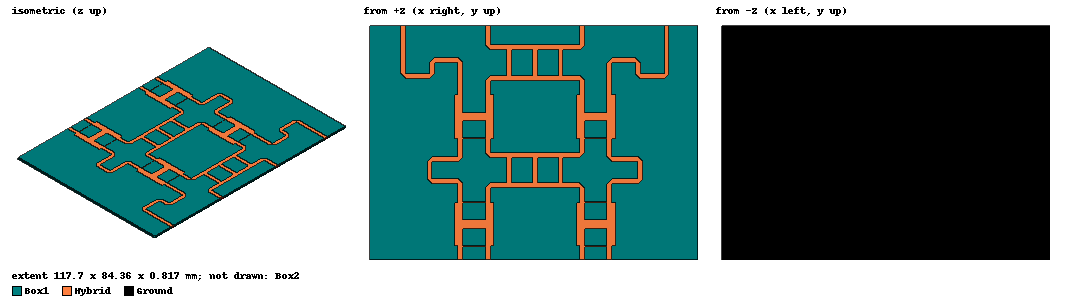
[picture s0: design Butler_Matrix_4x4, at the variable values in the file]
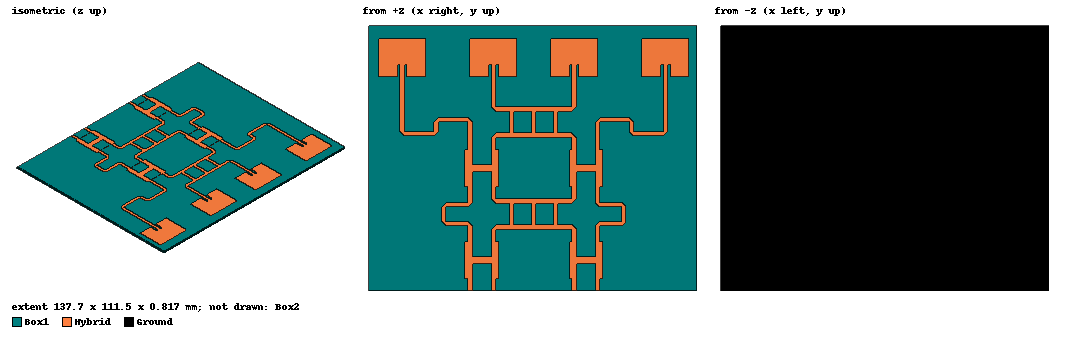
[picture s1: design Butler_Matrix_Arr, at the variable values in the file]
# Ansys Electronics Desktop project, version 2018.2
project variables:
  $W_50 = 2.21849mm
  $L_50 = 8.92656mm
  $W_120 = 0.30894mm
  $W_70 = 1.19566mm
  $L_120 = 9.52516mm
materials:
  copper: permeability=0.999991 conductivity=58000000
  FR4_epoxy: permittivity=4.4 dielectric_loss_tangent=0.02
  Rogers RO4003 (tm): permittivity=3.55 dielectric_loss_tangent=0.0027
  vacuum: permittivity=1

design Butler_Matrix_4x4 (HFSS, DrivenModal, model units mm)
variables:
  H = 0.8mm
  W_50 = 2.3mm
  Hybrid_L_35 = 7.82mm
  Hybrid_L_50 = 7.05mm
  Hybrid_L = 2*Hybrid_L_feed+Hybrid_W_120+2*Hybrid_L_35
  Hybrid_W = 25mm
  Hybrid_W_50 = 1.7645mm
  Hybrid_W_35 = 2.985mm
  Hybrid_L_feed = 5mm
  Cross_L_50 = 9.2mm
  Cross_W_50 = 1.76771mm
  Cross_L_feed = 6mm
  Cross_L = 2*Cross_L_feed+2*Cross_L_50+Cross_W_50
  Cross_W = 25mm
  Phase_c = 6.20642mm
  Phase_W = 40mm
  Phase_W_50 = 1.7645mm
  Phase_a = 1.5mm
  Phase_b = 9.3mm
  L_feed6 = L_feed5
  L_feed7 = L_feed5
  L_feed5 = 7.1mm
  L = 2*Hybrid_L+2*Cross_L_50+4*Cross_W_50+L_feed5
  L_feed8 = L_feed5
  W = Cross_L+6*Hybrid_W_50+2*Hybrid_L_50+2*Phase_b
  exten_b = 4mm
  exten_W_50 = 1.7645mm
  exten_a = 6.36771mm
  exten_c = 8.5mm
  exten_W = 30mm
  exten_L = 2*exten_a+2*exten_W_50+exten_c
  Phase_L = 2*Phase_a+2*Phase_W_50+Phase_c
  L_feed = 5mm
  exten_pad = 6mm
  Hybrid_W_120 = 0.2532mm
  Hyrid_L_feed = 5mm
  Hybrid_L_120 = 8.0138mm
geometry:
  Box1 [Rogers RO4003 (tm)] = box(corner=(-25mm, 0mm, 0mm), size=(W+42.292mm, L, H))
  Ground = object_from(Box1.face(-z))
  Port2 = rectangle(corner=(Hybrid_W/2+Hybrid_L_120/2, 0mm, H), z_size=-H, x_size=Hybrid_W_50)
  Port1 = rectangle(corner=(Hybrid_W/2-Hybrid_L_120/2, 0mm, H), z_size=-H, x_size=-Hybrid_W_50)
  Port3 = rectangle(corner=(Cross_L+Hybrid_W/2+Hybrid_L_120/2+Hybrid_W_50, 0mm, H), z_size=-H, x_size=Hybrid_W_50)
  Port4 = rectangle(corner=(Cross_L+Hybrid_W/2+1.5*Hybrid_L_120+2*Hybrid_W_50, 0mm, H), z_size=-H, x_size=Hybrid_W_50)
  Port5 = rectangle(corner=(Hybrid_W/2-Hybrid_L_120/2-2*exten_W_50-2*exten_c, L, H), z_size=-H, x_size=-Hybrid_W_50)
  Port6 = rectangle(corner=(Hybrid_W/2+Hybrid_L_120/2, L, H), z_size=-H, x_size=Cross_W_50)
  Port7 = rectangle(corner=(Cross_L+Hybrid_W/2+Hybrid_L_120/2+Hybrid_W_50, L, H), z_size=-H, x_size=Cross_W_50)
  Port8 = rectangle(corner=(Cross_L+Hybrid_W/2+1.5*Hybrid_L_120+4*Hybrid_W_50+2*exten_c, L, H), z_size=-H, x_size=Hybrid_W_50)
  Box2 [vacuum] = box(corner=(-35mm, -10mm, -10mm), size=(W+70mm-2*3.854mm, 20mm+L, 20mm))
  Bend_1 = polyline(z=H, xy: (Hybrid_W/2+Hybrid_L_120/2+Hybrid_W_50, Hybrid_L) (Hybrid_W/2+Hybrid_L_120/2+Hybrid_W_50, Hybrid_L+Cross_W_50) (Hybrid_W/2+Hybrid_L_120/2, Hybrid_L) (Hybrid_W/2+Hybrid_L_120/2+Hybrid_W_50, Hybrid_L), closed, covered)
  Bend_2 = polyline(z=H, xy: (Cross_L+Hybrid_W/2+Hybrid_L_120/2+Hybrid_W_50, Hybrid_L) (Cross_L+Hybrid_W/2+Hybrid_L_120/2+2*Hybrid_W_50, Hybrid_L) (Cross_L+Hybrid_W/2+Hybrid_L_120/2+Hybrid_W_50, Hybrid_L+Cross_W_50) (Cross_L+Hybrid_W/2+Hybrid_L_120/2+Hybrid_W_50, Hybrid_L), closed, covered)
  Bend_3 = polyline(z=H, xy: (Hybrid_W/2+Hybrid_L_120/2+Hybrid_W_50, Hybrid_L+Cross_W_50+Cross_L_50) (Hybrid_W/2+Hybrid_L_120/2+Hybrid_W_50, Hybrid_L+2*Cross_W_50+Cross_L_50) (Hybrid_W/2+Hybrid_L_120/2, Hybrid_L+2*Cross_W_50+Cross_L_50) (Hybrid_W/2+Hybrid_L_120/2+Hybrid_W_50, Hybrid_L+Cross_W_50+Cross_L_50), closed, covered)
  Bend_4 = polyline(z=H, xy: (Cross_L+Hybrid_W/2+Hybrid_L_120/2+Hybrid_W_50, Hybrid_L+Cross_L_50+Cross_W_50) (Cross_L+Hybrid_W/2+Hybrid_L_120/2+Hybrid_W_50, Hybrid_L+Cross_L_50+2*Cross_W_50) (Cross_L+Hybrid_W/2+Hybrid_L_120/2+2*Hybrid_W_50, Hybrid_L+Cross_L_50+2*Cross_W_50) (Cross_L+Hybrid_W/2+Hybrid_L_120/2+Hybrid_W_50, Hybrid_L+Cross_L_50+Cross_W_50), closed, covered)
  Bend_5 = polyline(z=H, xy: (Hybrid_W/2+Hybrid_L_120/2+Hybrid_W_50, Hybrid_L+2*Cross_W_50+Cross_L_50+Hybrid_L) (Hybrid_W/2+Hybrid_L_120/2+Hybrid_W_50, Hybrid_L+3*Cross_W_50+Cross_L_50+Hybrid_L) (Hybrid_W/2+Hybrid_L_120/2, Hybrid_L+2*Cross_W_50+Cross_L_50+Hybrid_L) (Hybrid_W/2+Hybrid_L_120/2+Hybrid_W_50, Hybrid_L+2*Cross_W_50+Cross_L_50+Hybrid_L), closed, covered)
  Bend_6 = polyline(z=H, xy: (Cross_L+Hybrid_W/2+Hybrid_L_120/2+Hybrid_W_50, 2*Hybrid_L+Cross_L_50+2*Cross_W_50) (Cross_L+Hybrid_W/2+Hybrid_L_120/2+Hybrid_W_50, 2*Hybrid_L+Cross_L_50+3*Cross_W_50) (Cross_L+Hybrid_W/2+Hybrid_L_120/2+2*Hybrid_W_50, 2*Hybrid_L+Cross_L_50+2*Cross_W_50) (Cross_L+Hybrid_W/2+Hybrid_L_120/2+Hybrid_W_50, 2*Hybrid_L+Cross_L_50+2*Cross_W_50), closed, covered)
  Phaser45_top = rectangle(corner=(Phase_W/2-Phase_W_50/2, 0mm, H), x_size=Phase_W_50, y_size=Phase_a)
  TL5 = rectangle(corner=(Phase_W/2-Phase_W_50/2, Phase_a+2*Phase_W_50+Phase_c, H), x_size=Phase_W_50, y_size=Phase_a)
  TL4 = rectangle(corner=(Phase_W/2-Phase_W_50/2-Phase_b, Phase_a+Phase_W_50+Phase_c, H), x_size=Phase_b, y_size=Phase_W_50)
  TL3 = rectangle(corner=(Phase_W/2-Phase_W_50/2-Phase_b, Phase_a+Phase_W_50, H), x_size=-Phase_W_50, y_size=Phase_c)
  TL2 = rectangle(corner=(Phase_W/2-Phase_W_50/2, Phase_a, H), x_size=-Phase_b, y_size=Phase_W_50)
  Bend10 = polyline(z=H, xy: (Phase_W/2-Phase_W_50/2, Phase_a+Phase_W_50+Phase_c) (Phase_W/2+Phase_W_50/2, Phase_a+2*Phase_W_50+Phase_c) (Phase_W/2-Phase_W_50/2, Phase_a+2*Phase_W_50+Phase_c) (Phase_W/2-Phase_W_50/2, Phase_a+Phase_W_50+Phase_c), closed, covered)
  Bend9 = polyline(z=H, xy: (Phase_W/2-1.5*Phase_W_50-Phase_b, Phase_a+Phase_W_50+Phase_c) (Phase_W/2-Phase_W_50/2-Phase_b, Phase_a+2*Phase_W_50+Phase_c) (Phase_W/2-Phase_W_50/2-Phase_b, Phase_a+Phase_W_50+Phase_c) (Phase_W/2-1.5*Phase_W_50-Phase_b, Phase_a+Phase_W_50+Phase_c), closed, covered)
  Bend8 = polyline(z=H, xy: (Phase_W/2-Phase_W_50/2-Phase_b, Phase_a) (Phase_W/2-1.5*Phase_W_50-Phase_b, Phase_a+Phase_W_50) (Phase_W/2-Phase_W_50/2-Phase_b, Phase_a+Phase_W_50) (Phase_W/2-Phase_W_50/2-Phase_b, Phase_a), closed, covered)
  Bend7 = polyline(z=H, xy: (Phase_W/2+Phase_W_50/2, Phase_a) (Phase_W/2-Phase_W_50/2, Phase_a+Phase_W_50) (Phase_W/2-Phase_W_50/2, Phase_a) (Phase_W/2+Phase_W_50/2, Phase_a), closed, covered)
  Phaser45_top.unite(TL5, TL4, TL3, TL2, Bend10, Bend9, Bend8, Bend7)
  Phaser45_top.move(-Phase_W/2+Phase_W_50/2+Hybrid_W/2-Hybrid_L_120/2-Hybrid_W_50, Hybrid_L, 0mm)
  Phaser45_down = Phaser45_top.duplicate_mirror(point=(Hybrid_W/2+Hybrid_L_120/2+Hybrid_W_50+Cross_L/2, Hybrid_L+Cross_W_50+Cross_L_50/2, 0mm), normal=(1mm, 0mm, 0mm))
  Feed_6 = rectangle(corner=(Hybrid_W/2+Hybrid_L_120/2+Hybrid_W_50, Hybrid_L+4*Cross_W_50+2*Cross_L_50+Hybrid_L, H), x_size=-Cross_W_50, y_size=L_feed6)
  Feed_7 = rectangle(corner=(Cross_L+Hybrid_W/2+Hybrid_L_120/2+Hybrid_W_50, 2*Hybrid_L+2*Cross_L_50+4*Cross_W_50, H), x_size=Cross_W_50, y_size=L_feed7)
  Feed_5 = rectangle(corner=(Hybrid_W/2-Hybrid_L_120/2-2*exten_W_50-2*exten_c, Hybrid_L+4*Cross_W_50+2*Cross_L_50+Hybrid_L, H), x_size=-Hybrid_W_50, y_size=L_feed5)
  Feed_8 = rectangle(corner=(Cross_L+Hybrid_W/2+1.5*Hybrid_L_120+2*Hybrid_W_50+2*exten_c+2*exten_W_50, 2*Hybrid_L+2*Cross_L_50+4*Cross_W_50, H), x_size=Hybrid_W_50, y_size=L_feed8)
  Bend_7 = polyline(z=H, xy: (Hybrid_W/2+Hybrid_L_120/2+Hybrid_W_50, Hybrid_L+3*Cross_W_50+2*Cross_L_50+Hybrid_L) (Hybrid_W/2+Hybrid_L_120/2+Hybrid_W_50, Hybrid_L+4*Cross_W_50+2*Cross_L_50+Hybrid_L) (Hybrid_W/2+Hybrid_L_120/2, Hybrid_L+4*Cross_W_50+2*Cross_L_50+Hybrid_L) (Hybrid_W/2+Hybrid_L_120/2+Hybrid_W_50, Hybrid_L+3*Cross_W_50+2*Cross_L_50+Hybrid_L), closed, covered)
  Bend_8 = polyline(z=H, xy: (Cross_L+Hybrid_W/2+Hybrid_L_120/2+Hybrid_W_50, 2*Hybrid_L+2*Cross_L_50+3*Cross_W_50) (Cross_L+Hybrid_W/2+Hybrid_L_120/2+Hybrid_W_50, 2*Hybrid_L+2*Cross_L_50+4*Cross_W_50) (Cross_L+Hybrid_W/2+Hybrid_L_120/2+2*Hybrid_W_50, 2*Hybrid_L+2*Cross_L_50+4*Cross_W_50) (Cross_L+Hybrid_W/2+Hybrid_L_120/2+Hybrid_W_50, 2*Hybrid_L+2*Cross_L_50+3*Cross_W_50), closed, covered)
  Crossover1 = rectangle(corner=(Cross_W/2-Cross_L_50/2, 0mm, H), x_size=-Cross_W_50, y_size=Cross_L_feed+Cross_W_50/2)
  feed6 = rectangle(corner=(Cross_W/2-Cross_L_50/2, Cross_L, H), x_size=-Cross_W_50, y_size=-Cross_L_feed-Cross_W_50/2)
  feed7 = rectangle(corner=(Cross_W/2+Cross_L_50/2, Cross_L, H), x_size=Cross_W_50, y_size=-Cross_L_feed-Cross_W_50/2)
  feed5 = rectangle(corner=(Cross_W/2+Cross_L_50/2, 0mm, H), x_size=Cross_W_50, y_size=Cross_L_feed+Cross_W_50/2)
  parallel1 = rectangle(corner=(Cross_W/2-Cross_L_50/2, Cross_L_feed, H), x_size=Cross_L_50, y_size=Cross_W_50)
  parallel2 = rectangle(corner=(Cross_W/2-Cross_L_50/2, Cross_L_feed+Cross_L_50, H), x_size=Cross_L_50, y_size=Cross_W_50)
  parallel3 = rectangle(corner=(Cross_W/2-Cross_L_50/2, Cross_L_feed+2*Cross_L_50, H), x_size=Cross_L_50, y_size=Cross_W_50)
  series1_1 = rectangle(corner=(Cross_W/2-Cross_L_50/2, Cross_L_feed+Cross_W_50/2, H), x_size=-Cross_W_50, y_size=Cross_L_50)
  series1_2 = rectangle(corner=(Cross_W/2+Cross_L_50/2, Cross_L_feed+Cross_W_50/2, H), x_size=Cross_W_50, y_size=Cross_L_50)
  series2_1 = rectangle(corner=(Cross_W/2-Cross_L_50/2, Cross_L_feed+Cross_W_50/2+Cross_L_50, H), x_size=-Cross_W_50, y_size=Cross_L_50)
  series2_2 = rectangle(corner=(Cross_W/2+Cross_L_50/2, Cross_L_feed+Cross_W_50/2+Cross_L_50, H), x_size=Cross_W_50, y_size=Cross_L_50)
  Crossover1.unite(feed6, feed7, feed5, parallel1, parallel2, parallel3, series1_1, series1_2, series2_1, series2_2)
  coordinate_system RelativeCS1 = origin=(Cross_W/2+Cross_L_50/2+Cross_W_50, 0mm, 0.8mm) x=(1mm, 0mm, 0mm) y=(0mm, 1mm, 0mm)
  Crossover1.rotate(axis=Z, angle=-90deg) in RelativeCS1
  Crossover1.move(Hybrid_W/2+Hybrid_L_120/2+Hybrid_W_50-Cross_W/2-Cross_L_50/2-Cross_W_50, Hybrid_L, 0mm) in RelativeCS1
  Crossover2 = Crossover1.duplicate_along_line(step=(0mm, Cross_L_50+2*Cross_W_50+Hybrid_L, 0mm), total=2) in RelativeCS1
  Top = rectangle(corner=(exten_W-exten_W_50-exten_pad, 0mm, H), x_size=exten_W_50, y_size=exten_a)
  TL6 = rectangle(corner=(exten_W-2*exten_W_50-exten_pad-2*exten_c, exten_a, H), x_size=-exten_W_50, y_size=exten_a)
  TL9 = rectangle(corner=(exten_W-2*exten_W_50-exten_pad-2*exten_c, exten_a-exten_b, H), x_size=-exten_W_50, y_size=exten_b)
  TL10 = rectangle(corner=(exten_W-2*exten_W_50-exten_pad-exten_c, exten_a-exten_b, H), x_size=-exten_c, y_size=-exten_W_50)
  TL8 = rectangle(corner=(exten_W-exten_W_50-exten_pad-exten_c, exten_a, H), x_size=-exten_W_50, y_size=-exten_b)
  TL7 = rectangle(corner=(exten_W-exten_W_50-exten_pad, exten_a, H), x_size=-exten_c, y_size=exten_W_50)
  Bend4 = polyline(z=H, xy: (exten_W-2*exten_W_50-exten_pad-2*exten_c, exten_a-exten_b-exten_W_50) (exten_W-2*exten_W_50-exten_pad-2*exten_c, exten_a-exten_b) (exten_W-3*exten_W_50-exten_pad-2*exten_c, exten_a-exten_b) (exten_W-2*exten_W_50-exten_pad-2*exten_c, exten_a-exten_b-exten_W_50), closed, covered)
  Bend3 = polyline(z=H, xy: (exten_W-2*exten_W_50-exten_pad-exten_c, exten_a-exten_b) (exten_W-2*exten_W_50-exten_pad-exten_c, exten_a-exten_b-exten_W_50) (exten_W-exten_W_50-exten_pad-exten_c, exten_a-exten_b) (exten_W-2*exten_W_50-exten_pad-exten_c, exten_a-exten_b), closed, covered)
  Bend2 = polyline(z=H, xy: (exten_W-exten_W_50-exten_pad-exten_c, exten_a) (exten_W-2*exten_W_50-exten_pad-exten_c, exten_a) (exten_W-exten_W_50-exten_pad-exten_c, exten_a+exten_W_50) (exten_W-exten_W_50-exten_pad-exten_c, exten_a), closed, covered)
  Bend1 = polyline(z=H, xy: (exten_W-exten_pad, exten_a) (exten_W-exten_W_50-exten_pad, exten_a+exten_W_50) (exten_W-exten_W_50-exten_pad, exten_a) (exten_W-exten_pad, exten_a), closed, covered)
  Top.unite(TL6, TL9, TL10, TL8, TL7, Bend4, Bend3, Bend2, Bend1)
  Top.move(-exten_W+exten_pad+Hybrid_W/2-Hybrid_L_120/2, 2*Hybrid_L+Phase_L, 0mm)
  Top_1 = Top.duplicate_mirror(point=(Hybrid_W/2+Hybrid_L_120/2+Hybrid_W_50+Cross_L/2, 2*Hybrid_L+2*Cross_W_50+Cross_L_50, 0mm), normal=(1, 0, 0))
  Hybrid [copper] = rectangle(corner=(Hybrid_W/2-Hybrid_L_120/2, 0mm, H), x_size=-Hybrid_W_50, y_size=Hybrid_L_feed+Hybrid_W_120/2)
  feed2 = rectangle(corner=(Hybrid_W/2-Hybrid_L_120/2, Hybrid_L, H), x_size=-Hybrid_W_50, y_size=-Hybrid_L_feed-Hybrid_W_120/2)
  feed3 = rectangle(corner=(Hybrid_W/2+Hybrid_L_120/2, Hybrid_L, H), x_size=Hybrid_W_50, y_size=-Hybrid_L_feed-Hybrid_W_120/2)
  feed4 = rectangle(corner=(Hybrid_W/2+Hybrid_L_120/2, 0mm, H), x_size=Hybrid_W_50, y_size=Hybrid_L_feed+Hybrid_W_120/2)
  parallel4 = rectangle(corner=(Hybrid_W/2-Hybrid_L_120/2, Hybrid_L_feed, H), x_size=Hybrid_L_120, y_size=Hybrid_W_120)
  parallel5 = rectangle(corner=(Hybrid_W/2-Hybrid_L_120/2, Hybrid_L_feed+Hybrid_L_35+Hybrid_W_120/2-Hybrid_W_35/2, H), x_size=Hybrid_L_120, y_size=Hybrid_W_35)
  parallel6 = rectangle(corner=(Hybrid_W/2-Hybrid_L_120/2, Hybrid_L_feed+2*Hybrid_L_35, H), x_size=Hybrid_L_120, y_size=Hybrid_W_120)
  series1_3 = rectangle(corner=(Hybrid_W/2-Hybrid_L_120/2, Hybrid_L_feed+Hybrid_W_120/2, H), x_size=-Hybrid_W_35, y_size=Hybrid_L_35)
  series1_4 = rectangle(corner=(Hybrid_W/2+Hybrid_L_120/2, Hybrid_L_feed+Hybrid_W_120/2, H), x_size=Hybrid_W_35, y_size=Hybrid_L_35)
  series2_3 = rectangle(corner=(Hybrid_W/2-Hybrid_L_120/2, Hybrid_L_feed+Hybrid_W_120/2+Hybrid_L_35, H), x_size=-Hybrid_W_35, y_size=Hybrid_L_35)
  series2_4 = rectangle(corner=(Hybrid_W/2+Hybrid_L_120/2, Hybrid_L_feed+Hybrid_W_120/2+Hybrid_L_35, H), x_size=Hybrid_W_35, y_size=Hybrid_L_35)
  Hybrid.unite(feed2, feed3, feed4, parallel4, parallel5, parallel6, series1_3, series1_4, series2_3, series2_4)
  Hybrid_1 = Hybrid.duplicate_along_line(step=(Cross_L+Hybrid_L_120+2*Hybrid_W_50, 0mm, 0mm), total=2)
  Hybrid_2 = Hybrid.duplicate_along_line(step=(0mm, Hybrid_L+Cross_L_50+2*Cross_W_50, 0mm), total=2)
  Hybrid3 = Hybrid_2.duplicate_along_line(step=(Cross_L+Hybrid_L_120+2*Hybrid_W_50, 0mm, 0mm), total=2)
  Hybrid.unite(Hybrid_1, Hybrid_2, Hybrid3, Phaser45_down, Phaser45_top, Top, Top_1, Feed_8, Feed_7, Feed_6, Feed_5, Crossover2, Crossover1, Bend_8, Bend_7, Bend_6, Bend_5, Bend_4, Bend_3, Bend_2, Bend_1)
  Hybrid.thicken(0.017mm)
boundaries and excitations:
  PerfE1: Perfect E Objects=Ground
  Rad1: Radiation Objects=Box2
  1: Lumped Port Faces=Port1.face Modes{Mode1{IntLine{middle of Port1.edge(z opposite corner) -> middle of Port1.edge(z at corner)} CharImp=Zpi RenormImp=50ohm}} Impedance=50ohm
  2: Lumped Port Objects=Port2 Modes{Mode1{IntLine{middle of Port2.edge(z opposite corner) -> middle of Port2.edge(z at corner)} CharImp=Zpi RenormImp=50ohm}} Impedance=50ohm
  3: Lumped Port Objects=Port3 Modes{Mode1{IntLine{middle of Port3.edge(z opposite corner) -> middle of Port3.edge(z at corner)} CharImp=Zpi RenormImp=50ohm}} Impedance=50ohm
  4: Lumped Port Objects=Port4 Modes{Mode1{IntLine{middle of Port4.edge(z opposite corner) -> middle of Port4.edge(z at corner)} CharImp=Zpi RenormImp=50ohm}} Impedance=50ohm
  5: Lumped Port Objects=Port5 Modes{Mode1{IntLine{middle of Port5.edge(z opposite corner) -> middle of Port5.edge(z at corner)} CharImp=Zpi RenormImp=50ohm}} Impedance=50ohm
  6: Lumped Port Objects=Port6 Modes{Mode1{IntLine{middle of Port6.edge(z opposite corner) -> middle of Port6.edge(z at corner)} CharImp=Zpi RenormImp=50ohm}} Impedance=50ohm
  7: Lumped Port Objects=Port7 Modes{Mode1{IntLine{middle of Port7.edge(z opposite corner) -> middle of Port7.edge(z at corner)} CharImp=Zpi RenormImp=50ohm}} Impedance=50ohm
  8: Lumped Port Objects=Port8 Modes{Mode1{IntLine{middle of Port8.edge(z opposite corner) -> middle of Port8.edge(z at corner)} CharImp=Zpi RenormImp=50ohm}} Impedance=50ohm
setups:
  Setup1: HfssDriven Frequency=5GHz MaxDeltaS=0.02 MaximumPasses=20 MinimumPasses=1 MinimumConvergedPasses=1 PercentRefinement=30 BasisOrder=1 PortAccuracy=2
    sweep Sweep: 4GHz to 6GHz step 0.01GHz; Type=Fast SaveFields
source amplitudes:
  1:1: 1W 0deg
  2:1, 3:1, 4:1, 5:1, 6:1, 7:1, 8:1: 0W 0deg
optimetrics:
  ParametricSetup1: Parametric disabled Sim._Setups=[Setup1]
    sweep L_feed5: LIN 2mm 8mm 0.25mm
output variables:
  phase_diff_5_6 = ang_deg(S(5,1))-ang_deg(S(6,1))
  phase_diff_6_7 = ang_deg(S(6,1))-ang_deg(S(7,1))
  phase_diff_7_8 = ang_deg(S(7,1))-ang_deg(S(8,1))
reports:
  S-Parameters: dB(S(1,1)), dB(S(2,1)), dB(S(3,1)), dB(S(4,1)) vs Freq on Setup1 : Sweep; markers MX1 at x=5.0029718e+09, MY1 at y=-14.975
  Insertion Loss: dB(S(5,1)), dB(S(6,1)), dB(S(7,1)), dB(S(8,1)) vs Freq on Setup1 : Sweep; markers MX1 at x=5.0029718e+09
  S Parameter Plot 3: ang_deg(S(5,1)), ang_deg(S(6,1)), ang_deg(S(7,1)), ang_deg(S(8,1)) vs Freq on Setup1 : Sweep; markers MX1 at x=5e+09
  Output Variables Plot 1: phase_diff_5_6, phase_diff_6_7, phase_diff_7_8 vs Freq on Setup1 : Sweep; markers MX1 at x=5e+09
  S Parameter Plot 4: ang_deg(S(2,1)) vs Freq on Setup1 : Sweep [L_feed5=all]; markers MX1 at x=4.9999383e+09

design Butler_Matrix_Arr (HFSS, DrivenModal, model units mm)
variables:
  H = 0.8mm
  W_50 = 1.7645mm
  Hybrid_L_35 = 7.82mm
  Hybrid_L_50 = 7.05mm
  Hybrid_L = 2*Hybrid_L_feed+Hybrid_W_120+2*Hybrid_L_35
  Hybrid_W = 25mm
  Hybrid_W_50 = 1.7645mm
  Hybrid_W_35 = 2.985mm
  Hybrid_L_feed = 5mm
  Cross_L_50 = 9.2mm
  Cross_W_50 = 1.76771mm
  Cross_L_feed = 6mm
  Cross_L = 2*Cross_L_feed+2*Cross_L_50+Cross_W_50
  Cross_W = 25mm
  Phase_c = 6.20642mm
  Phase_W = 40mm
  Phase_W_50 = 1.7645mm
  Phase_a = 1.5mm
  Phase_b = 9.3mm
  L_feed6 = L_feed5
  L_feed7 = L_feed5
  L_feed5 = 7.1mm
  L = 2*Hybrid_L+2*Cross_L_50+4*Cross_W_50+L_feed5+La
  L_feed8 = L_feed5
  W = Cross_L+6*Hybrid_W_50+2*Hybrid_L_50+2*Phase_b
  exten_b = 4mm
  exten_W_50 = 1.7645mm
  exten_a = 6.36771mm
  exten_c = 12.5mm
  exten_W = 30mm
  exten_L = 2*exten_a+2*exten_W_50+exten_c
  Phase_L = 2*Phase_a+2*Phase_W_50+Phase_c
  L_feed = 5mm
  exten_pad = 6mm
  Hybrid_W_120 = 0.2532mm
  Hyrid_L_feed = 5mm
  Hybrid_L_120 = 8.0138mm
  Cross_W_40 = 2.3329mm
  Cross_L_64 = 9.348402mm
  Lp = 15.6mm
  hg = 1.9298mm
  La = Lp+6*hg
  depth = 4.842mm
  S = 4.005mm
  Wa = Wp+6*hg
  Wp = 19.9mm
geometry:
  Box1 [Rogers RO4003 (tm)] = box(corner=(-35mm, 0mm, 0mm), size=(W+62.292mm, L, H))
  Ground = object_from(Box1.face(-z))
  Port2 = rectangle(corner=(Hybrid_W/2+Hybrid_L_120/2, 0mm, H), z_size=-H, x_size=Hybrid_W_50)
  Port1 = rectangle(corner=(Hybrid_W/2-Hybrid_L_120/2, 0mm, H), z_size=-H, x_size=-Hybrid_W_50)
  Port3 = rectangle(corner=(Cross_L+Hybrid_W/2+Hybrid_L_120/2+Hybrid_W_50, 0mm, H), z_size=-H, x_size=Hybrid_W_50)
  Port4 = rectangle(corner=(Cross_L+Hybrid_W/2+1.5*Hybrid_L_120+2*Hybrid_W_50, 0mm, H), z_size=-H, x_size=Hybrid_W_50)
  Box2 [vacuum] = box(corner=(-45mm, -10mm, -10mm), size=(W+90mm-2*3.854mm, 20mm+L, 20mm))
  Bend_1 = polyline(z=H, xy: (Hybrid_W/2+Hybrid_L_120/2+Hybrid_W_50, Hybrid_L) (Hybrid_W/2+Hybrid_L_120/2+Hybrid_W_50, Hybrid_L+Cross_W_50) (Hybrid_W/2+Hybrid_L_120/2, Hybrid_L) (Hybrid_W/2+Hybrid_L_120/2+Hybrid_W_50, Hybrid_L), closed, covered)
  Bend_2 = polyline(z=H, xy: (Cross_L+Hybrid_W/2+Hybrid_L_120/2+Hybrid_W_50, Hybrid_L) (Cross_L+Hybrid_W/2+Hybrid_L_120/2+2*Hybrid_W_50, Hybrid_L) (Cross_L+Hybrid_W/2+Hybrid_L_120/2+Hybrid_W_50, Hybrid_L+Cross_W_50) (Cross_L+Hybrid_W/2+Hybrid_L_120/2+Hybrid_W_50, Hybrid_L), closed, covered)
  Bend_3 = polyline(z=H, xy: (Hybrid_W/2+Hybrid_L_120/2+Hybrid_W_50, Hybrid_L+Cross_W_50+Cross_L_50) (Hybrid_W/2+Hybrid_L_120/2+Hybrid_W_50, Hybrid_L+2*Cross_W_50+Cross_L_50) (Hybrid_W/2+Hybrid_L_120/2, Hybrid_L+2*Cross_W_50+Cross_L_50) (Hybrid_W/2+Hybrid_L_120/2+Hybrid_W_50, Hybrid_L+Cross_W_50+Cross_L_50), closed, covered)
  Bend_4 = polyline(z=H, xy: (Cross_L+Hybrid_W/2+Hybrid_L_120/2+Hybrid_W_50, Hybrid_L+Cross_L_50+Cross_W_50) (Cross_L+Hybrid_W/2+Hybrid_L_120/2+Hybrid_W_50, Hybrid_L+Cross_L_50+2*Cross_W_50) (Cross_L+Hybrid_W/2+Hybrid_L_120/2+2*Hybrid_W_50, Hybrid_L+Cross_L_50+2*Cross_W_50) (Cross_L+Hybrid_W/2+Hybrid_L_120/2+Hybrid_W_50, Hybrid_L+Cross_L_50+Cross_W_50), closed, covered)
  Bend_5 = polyline(z=H, xy: (Hybrid_W/2+Hybrid_L_120/2+Hybrid_W_50, Hybrid_L+2*Cross_W_50+Cross_L_50+Hybrid_L) (Hybrid_W/2+Hybrid_L_120/2+Hybrid_W_50, Hybrid_L+3*Cross_W_50+Cross_L_50+Hybrid_L) (Hybrid_W/2+Hybrid_L_120/2, Hybrid_L+2*Cross_W_50+Cross_L_50+Hybrid_L) (Hybrid_W/2+Hybrid_L_120/2+Hybrid_W_50, Hybrid_L+2*Cross_W_50+Cross_L_50+Hybrid_L), closed, covered)
  Bend_6 = polyline(z=H, xy: (Cross_L+Hybrid_W/2+Hybrid_L_120/2+Hybrid_W_50, 2*Hybrid_L+Cross_L_50+2*Cross_W_50) (Cross_L+Hybrid_W/2+Hybrid_L_120/2+Hybrid_W_50, 2*Hybrid_L+Cross_L_50+3*Cross_W_50) (Cross_L+Hybrid_W/2+Hybrid_L_120/2+2*Hybrid_W_50, 2*Hybrid_L+Cross_L_50+2*Cross_W_50) (Cross_L+Hybrid_W/2+Hybrid_L_120/2+Hybrid_W_50, 2*Hybrid_L+Cross_L_50+2*Cross_W_50), closed, covered)
  Phaser45_top = rectangle(corner=(Phase_W/2-Phase_W_50/2, 0mm, H), x_size=Phase_W_50, y_size=Phase_a)
  TL5 = rectangle(corner=(Phase_W/2-Phase_W_50/2, Phase_a+2*Phase_W_50+Phase_c, H), x_size=Phase_W_50, y_size=Phase_a)
  TL4 = rectangle(corner=(Phase_W/2-Phase_W_50/2-Phase_b, Phase_a+Phase_W_50+Phase_c, H), x_size=Phase_b, y_size=Phase_W_50)
  TL3 = rectangle(corner=(Phase_W/2-Phase_W_50/2-Phase_b, Phase_a+Phase_W_50, H), x_size=-Phase_W_50, y_size=Phase_c)
  TL2 = rectangle(corner=(Phase_W/2-Phase_W_50/2, Phase_a, H), x_size=-Phase_b, y_size=Phase_W_50)
  Bend10 = polyline(z=H, xy: (Phase_W/2-Phase_W_50/2, Phase_a+Phase_W_50+Phase_c) (Phase_W/2+Phase_W_50/2, Phase_a+2*Phase_W_50+Phase_c) (Phase_W/2-Phase_W_50/2, Phase_a+2*Phase_W_50+Phase_c) (Phase_W/2-Phase_W_50/2, Phase_a+Phase_W_50+Phase_c), closed, covered)
  Bend9 = polyline(z=H, xy: (Phase_W/2-1.5*Phase_W_50-Phase_b, Phase_a+Phase_W_50+Phase_c) (Phase_W/2-Phase_W_50/2-Phase_b, Phase_a+2*Phase_W_50+Phase_c) (Phase_W/2-Phase_W_50/2-Phase_b, Phase_a+Phase_W_50+Phase_c) (Phase_W/2-1.5*Phase_W_50-Phase_b, Phase_a+Phase_W_50+Phase_c), closed, covered)
  Bend8 = polyline(z=H, xy: (Phase_W/2-Phase_W_50/2-Phase_b, Phase_a) (Phase_W/2-1.5*Phase_W_50-Phase_b, Phase_a+Phase_W_50) (Phase_W/2-Phase_W_50/2-Phase_b, Phase_a+Phase_W_50) (Phase_W/2-Phase_W_50/2-Phase_b, Phase_a), closed, covered)
  Bend7 = polyline(z=H, xy: (Phase_W/2+Phase_W_50/2, Phase_a) (Phase_W/2-Phase_W_50/2, Phase_a+Phase_W_50) (Phase_W/2-Phase_W_50/2, Phase_a) (Phase_W/2+Phase_W_50/2, Phase_a), closed, covered)
  Phaser45_top.unite(TL5, TL4, TL3, TL2, Bend10, Bend9, Bend8, Bend7)
  Phaser45_top.move(-Phase_W/2+Phase_W_50/2+Hybrid_W/2-Hybrid_L_120/2-Hybrid_W_50, Hybrid_L, 0mm)
  Phaser45_down = Phaser45_top.duplicate_mirror(point=(Hybrid_W/2+Hybrid_L_120/2+Hybrid_W_50+Cross_L/2, Hybrid_L+Cross_W_50+Cross_L_50/2, 0mm), normal=(1mm, 0mm, 0mm))
  Feed_6 = rectangle(corner=(Hybrid_W/2+Hybrid_L_120/2+Hybrid_W_50, Hybrid_L+4*Cross_W_50+2*Cross_L_50+Hybrid_L, H), x_size=-Cross_W_50, y_size=L_feed6)
  Feed_7 = rectangle(corner=(Cross_L+Hybrid_W/2+Hybrid_L_120/2+Hybrid_W_50, 2*Hybrid_L+2*Cross_L_50+4*Cross_W_50, H), x_size=Cross_W_50, y_size=L_feed7)
  Feed_5 = rectangle(corner=(Hybrid_W/2-Hybrid_L_120/2-2*exten_W_50-2*exten_c, Hybrid_L+4*Cross_W_50+2*Cross_L_50+Hybrid_L, H), x_size=-Hybrid_W_50, y_size=L_feed5)
  Feed_8 = rectangle(corner=(Cross_L+Hybrid_W/2+1.5*Hybrid_L_120+2*Hybrid_W_50+2*exten_c+2*exten_W_50, 2*Hybrid_L+2*Cross_L_50+4*Cross_W_50, H), x_size=Hybrid_W_50, y_size=L_feed8)
  Bend_7 = polyline(z=H, xy: (Hybrid_W/2+Hybrid_L_120/2+Hybrid_W_50, Hybrid_L+3*Cross_W_50+2*Cross_L_50+Hybrid_L) (Hybrid_W/2+Hybrid_L_120/2+Hybrid_W_50, Hybrid_L+4*Cross_W_50+2*Cross_L_50+Hybrid_L) (Hybrid_W/2+Hybrid_L_120/2, Hybrid_L+4*Cross_W_50+2*Cross_L_50+Hybrid_L) (Hybrid_W/2+Hybrid_L_120/2+Hybrid_W_50, Hybrid_L+3*Cross_W_50+2*Cross_L_50+Hybrid_L), closed, covered)
  Bend_8 = polyline(z=H, xy: (Cross_L+Hybrid_W/2+Hybrid_L_120/2+Hybrid_W_50, 2*Hybrid_L+2*Cross_L_50+3*Cross_W_50) (Cross_L+Hybrid_W/2+Hybrid_L_120/2+Hybrid_W_50, 2*Hybrid_L+2*Cross_L_50+4*Cross_W_50) (Cross_L+Hybrid_W/2+Hybrid_L_120/2+2*Hybrid_W_50, 2*Hybrid_L+2*Cross_L_50+4*Cross_W_50) (Cross_L+Hybrid_W/2+Hybrid_L_120/2+Hybrid_W_50, 2*Hybrid_L+2*Cross_L_50+3*Cross_W_50), closed, covered)
  Crossover1 = rectangle(corner=(Cross_W/2-Cross_L_50/2, 0mm, H), x_size=-Cross_W_50, y_size=Cross_L_feed+Cross_W_50/2)
  feed6 = rectangle(corner=(Cross_W/2-Cross_L_50/2, Cross_L, H), x_size=-Cross_W_50, y_size=-Cross_L_feed-Cross_W_50/2)
  feed7 = rectangle(corner=(Cross_W/2+Cross_L_50/2, Cross_L, H), x_size=Cross_W_50, y_size=-Cross_L_feed-Cross_W_50/2)
  feed5 = rectangle(corner=(Cross_W/2+Cross_L_50/2, 0mm, H), x_size=Cross_W_50, y_size=Cross_L_feed+Cross_W_50/2)
  parallel1 = rectangle(corner=(Cross_W/2-Cross_L_50/2, Cross_L_feed, H), x_size=Cross_L_50, y_size=Cross_W_50)
  parallel2 = rectangle(corner=(Cross_W/2-Cross_L_50/2, Cross_L_feed+Cross_L_50, H), x_size=Cross_L_50, y_size=Cross_W_50)
  parallel3 = rectangle(corner=(Cross_W/2-Cross_L_50/2, Cross_L_feed+2*Cross_L_50, H), x_size=Cross_L_50, y_size=Cross_W_50)
  series1_1 = rectangle(corner=(Cross_W/2-Cross_L_50/2, Cross_L_feed+Cross_W_50/2, H), x_size=-Cross_W_50, y_size=Cross_L_50)
  series1_2 = rectangle(corner=(Cross_W/2+Cross_L_50/2, Cross_L_feed+Cross_W_50/2, H), x_size=Cross_W_50, y_size=Cross_L_50)
  series2_1 = rectangle(corner=(Cross_W/2-Cross_L_50/2, Cross_L_feed+Cross_W_50/2+Cross_L_50, H), x_size=-Cross_W_50, y_size=Cross_L_50)
  series2_2 = rectangle(corner=(Cross_W/2+Cross_L_50/2, Cross_L_feed+Cross_W_50/2+Cross_L_50, H), x_size=Cross_W_50, y_size=Cross_L_50)
  Crossover1.unite(feed6, feed7, feed5, parallel1, parallel2, parallel3, series1_1, series1_2, series2_1, series2_2)
  coordinate_system RelativeCS1 = origin=(Cross_W/2+Cross_L_50/2+Cross_W_50, 0mm, 0.8mm) x=(1mm, 0mm, 0mm) y=(0mm, 1mm, 0mm)
  Crossover1.rotate(axis=Z, angle=-90deg) in RelativeCS1
  Crossover1.move(Hybrid_W/2+Hybrid_L_120/2+Hybrid_W_50-Cross_W/2-Cross_L_50/2-Cross_W_50, Hybrid_L, 0mm) in RelativeCS1
  Crossover2 = Crossover1.duplicate_along_line(step=(0mm, Cross_L_50+2*Cross_W_50+Hybrid_L, 0mm), total=2) in RelativeCS1
  Top = rectangle(corner=(exten_W-exten_W_50-exten_pad, 0mm, H), x_size=exten_W_50, y_size=exten_a)
  TL6 = rectangle(corner=(exten_W-2*exten_W_50-exten_pad-2*exten_c, exten_a, H), x_size=-exten_W_50, y_size=exten_a)
  TL9 = rectangle(corner=(exten_W-2*exten_W_50-exten_pad-2*exten_c, exten_a-exten_b, H), x_size=-exten_W_50, y_size=exten_b)
  TL10 = rectangle(corner=(exten_W-2*exten_W_50-exten_pad-exten_c, exten_a-exten_b, H), x_size=-exten_c, y_size=-exten_W_50)
  TL8 = rectangle(corner=(exten_W-exten_W_50-exten_pad-exten_c, exten_a, H), x_size=-exten_W_50, y_size=-exten_b)
  TL7 = rectangle(corner=(exten_W-exten_W_50-exten_pad, exten_a, H), x_size=-exten_c, y_size=exten_W_50)
  Bend4 = polyline(z=H, xy: (exten_W-2*exten_W_50-exten_pad-2*exten_c, exten_a-exten_b-exten_W_50) (exten_W-2*exten_W_50-exten_pad-2*exten_c, exten_a-exten_b) (exten_W-3*exten_W_50-exten_pad-2*exten_c, exten_a-exten_b) (exten_W-2*exten_W_50-exten_pad-2*exten_c, exten_a-exten_b-exten_W_50), closed, covered)
  Bend3 = polyline(z=H, xy: (exten_W-2*exten_W_50-exten_pad-exten_c, exten_a-exten_b) (exten_W-2*exten_W_50-exten_pad-exten_c, exten_a-exten_b-exten_W_50) (exten_W-exten_W_50-exten_pad-exten_c, exten_a-exten_b) (exten_W-2*exten_W_50-exten_pad-exten_c, exten_a-exten_b), closed, covered)
  Bend2 = polyline(z=H, xy: (exten_W-exten_W_50-exten_pad-exten_c, exten_a) (exten_W-2*exten_W_50-exten_pad-exten_c, exten_a) (exten_W-exten_W_50-exten_pad-exten_c, exten_a+exten_W_50) (exten_W-exten_W_50-exten_pad-exten_c, exten_a), closed, covered)
  Bend1 = polyline(z=H, xy: (exten_W-exten_pad, exten_a) (exten_W-exten_W_50-exten_pad, exten_a+exten_W_50) (exten_W-exten_W_50-exten_pad, exten_a) (exten_W-exten_pad, exten_a), closed, covered)
  Top.unite(TL6, TL9, TL10, TL8, TL7, Bend4, Bend3, Bend2, Bend1)
  Top.move(-exten_W+exten_pad+Hybrid_W/2-Hybrid_L_120/2, 2*Hybrid_L+Phase_L, 0mm)
  Top_1 = Top.duplicate_mirror(point=(Hybrid_W/2+Hybrid_L_120/2+Hybrid_W_50+Cross_L/2, 2*Hybrid_L+2*Cross_W_50+Cross_L_50, 0mm), normal=(1, 0, 0))
  Hybrid [copper] = rectangle(corner=(Hybrid_W/2-Hybrid_L_120/2, 0mm, H), x_size=-Hybrid_W_50, y_size=Hybrid_L_feed+Hybrid_W_120/2)
  feed2 = rectangle(corner=(Hybrid_W/2-Hybrid_L_120/2, Hybrid_L, H), x_size=-Hybrid_W_50, y_size=-Hybrid_L_feed-Hybrid_W_120/2)
  feed3 = rectangle(corner=(Hybrid_W/2+Hybrid_L_120/2, Hybrid_L, H), x_size=Hybrid_W_50, y_size=-Hybrid_L_feed-Hybrid_W_120/2)
  feed4 = rectangle(corner=(Hybrid_W/2+Hybrid_L_120/2, 0mm, H), x_size=Hybrid_W_50, y_size=Hybrid_L_feed+Hybrid_W_120/2)
  parallel4 = rectangle(corner=(Hybrid_W/2-Hybrid_L_120/2, Hybrid_L_feed, H), x_size=Hybrid_L_120, y_size=Hybrid_W_120)
  parallel5 = rectangle(corner=(Hybrid_W/2-Hybrid_L_120/2, Hybrid_L_feed+Hybrid_L_35+Hybrid_W_120/2-Hybrid_W_35/2, H), x_size=Hybrid_L_120, y_size=Hybrid_W_35)
  parallel6 = rectangle(corner=(Hybrid_W/2-Hybrid_L_120/2, Hybrid_L_feed+2*Hybrid_L_35, H), x_size=Hybrid_L_120, y_size=Hybrid_W_120)
  series1_3 = rectangle(corner=(Hybrid_W/2-Hybrid_L_120/2, Hybrid_L_feed+Hybrid_W_120/2, H), x_size=-Hybrid_W_35, y_size=Hybrid_L_35)
  series1_4 = rectangle(corner=(Hybrid_W/2+Hybrid_L_120/2, Hybrid_L_feed+Hybrid_W_120/2, H), x_size=Hybrid_W_35, y_size=Hybrid_L_35)
  series2_3 = rectangle(corner=(Hybrid_W/2-Hybrid_L_120/2, Hybrid_L_feed+Hybrid_W_120/2+Hybrid_L_35, H), x_size=-Hybrid_W_35, y_size=Hybrid_L_35)
  series2_4 = rectangle(corner=(Hybrid_W/2+Hybrid_L_120/2, Hybrid_L_feed+Hybrid_W_120/2+Hybrid_L_35, H), x_size=Hybrid_W_35, y_size=Hybrid_L_35)
  Hybrid.unite(feed2, feed3, feed4, parallel4, parallel5, parallel6, series1_3, series1_4, series2_3, series2_4)
  Hybrid_1 = Hybrid.duplicate_along_line(step=(Cross_L+Hybrid_L_120+2*Hybrid_W_50, 0mm, 0mm), total=2)
  Hybrid_2 = Hybrid.duplicate_along_line(step=(0mm, Hybrid_L+Cross_L_50+2*Cross_W_50, 0mm), total=2)
  Hybrid3 = Hybrid_2.duplicate_along_line(step=(Cross_L+Hybrid_L_120+2*Hybrid_W_50, 0mm, 0mm), total=2)
  Hybrid.unite(Hybrid_1, Hybrid_2, Hybrid3, Phaser45_down, Phaser45_top, Top, Top_1, Feed_8, Feed_7, Feed_6, Feed_5, Crossover2, Crossover1, Bend_8, Bend_7, Bend_6, Bend_5, Bend_4, Bend_3, Bend_2, Bend_1)
  Patch = rectangle(corner=(Wa/2-Wp/2, La/2-Lp/2, H), x_size=Wp, y_size=Lp)
  cut = rectangle(corner=(Wa/2-S/2, La/2-Lp/2, H), x_size=S, y_size=depth)
  Patch.subtract(cut)
  Rectangle1 = rectangle(corner=(Wa/2-W_50/2, 0mm, H), x_size=W_50, y_size=3*hg+depth)
  Patch.unite(Rectangle1)
  Patch.move(Hybrid_W/2-Hybrid_L_120/2-2*exten_W_50-2*exten_c-Wa/2-W_50/2, Hybrid_L+4*Cross_W_50+2*Cross_L_50+Hybrid_L+L_feed5, 0)
  Patch2 = Patch.duplicate_along_line(step=(3*exten_W_50+2*exten_c+Hybrid_L_120, 0mm, 0mm), total=2)
  Patch3 = Patch.duplicate_along_line(step=(4*exten_W_50+2*exten_c+Hybrid_L_120+Cross_L, 0mm, 0mm), total=2)
  Patch4 = Patch.duplicate_along_line(step=(7*exten_W_50+4*exten_c+2*Hybrid_L_120+Cross_L, 0mm, 0mm), total=2)
  Hybrid.unite(Patch, Patch2, Patch3, Patch4)
  Hybrid.thicken(0.017mm)
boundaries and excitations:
  PerfE1: Perfect E Objects=Ground
  Rad1: Radiation Objects=Box2
  1: Lumped Port Faces=Port1.face Modes{Mode1{IntLine{middle of Port1.edge(z opposite corner) -> middle of Port1.edge(z at corner)} CharImp=Zpi RenormImp=50ohm}} Impedance=50ohm
  2: Lumped Port Objects=Port2 Modes{Mode1{IntLine{middle of Port2.edge(z opposite corner) -> middle of Port2.edge(z at corner)} CharImp=Zpi RenormImp=50ohm}} Impedance=50ohm
  3: Lumped Port Objects=Port3 Modes{Mode1{IntLine{middle of Port3.edge(z opposite corner) -> middle of Port3.edge(z at corner)} CharImp=Zpi RenormImp=50ohm}} Impedance=50ohm
  4: Lumped Port Objects=Port4 Modes{Mode1{IntLine{middle of Port4.edge(z opposite corner) -> middle of Port4.edge(z at corner)} CharImp=Zpi RenormImp=50ohm}} Impedance=50ohm
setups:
  Setup1: HfssDriven Frequency=5GHz MaxDeltaS=0.03 MaximumPasses=25 MinimumPasses=1 MinimumConvergedPasses=1 PercentRefinement=30 BasisOrder=1 PortAccuracy=2
    sweep Sweep: 4GHz to 6GHz step 0.01GHz; Type=Fast SaveFields
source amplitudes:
  1:1, 2:1, 4:1: 0W 0deg
  3:1: 1W 0deg
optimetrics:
  ParametricSetup1: Parametric disabled Sim._Setups=[Setup1]
    sweep L_feed5: LIN 2mm 8mm 0.25mm
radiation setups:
  Infinite Sphere1: Infinite Sphere Theta=0deg..180deg step 1deg Phi=-180deg..180deg step 1deg
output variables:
  phase_diff_5_6 = ang_deg(S(5,1))-ang_deg(S(6,1))
  phase_diff_6_7 = ang_deg(S(6,1))-ang_deg(S(7,1))
  phase_diff_7_8 = ang_deg(S(7,1))-ang_deg(S(8,1))
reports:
  S-Parameters: dB(S(1,1)), dB(S(2,1)), dB(S(3,1)), dB(S(4,1)) vs Freq on Setup1 : Sweep; markers MX1 at x=5.0029718e+09, MY1 at y=-10.1082
  Gain Plot 1: dB(GainTotal) vs Phi, Theta on Setup1 : LastAdaptive, Infinite Sphere1 [Freq=5GHz]
  Gain Plot 2: dB10normalize(GainTotal) vs Theta on Setup1 : LastAdaptive, Infinite Sphere1 [Phi=0deg Freq=5GHz]

design Hybrid_WB (Circuit)
options: SParamCircuitDef IntegrationMethod=FFT
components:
  A2 = MS_TRL(W=1.76772mm P=5mm)
  A1 = MS_TRL(W=1.76772mm P=5mm)
  A6 = MS_TEEC(W2=2.98223mm W1=1.76772mm W3=0.24287mm)
  A3 = MS_TEEC(W1=2.98223mm W2=1.76772mm W3=0.24287mm)
  A10 = MS_TRL(W=0.24287mm P=9.55345mm)
  A11 = MS_TRL(W=2.98223mm P=8.73787mm)
  A4 = MS_TRL(W=2.98223mm P=8.73787mm)
  A5 = MS_TEEC(W1=2.98223mm W2=2.98223mm W3=2.98223mm)
  A7 = MS_TEEC(W1=2.98223mm W2=2.98223mm W3=2.98223mm)
  A8 = MS_TRL(W=2.98223mm P=9.55345mm)
  A9 = MS_TRL(W=2.98223mm P=8.73787mm)
  A12 = MS_TRL(W=2.98223mm P=8.73787mm)
  A13 = MS_TEEC(W2=2.98223mm W1=1.76772mm W3=0.24287mm)
  A14 = MS_TEEC(W1=2.98223mm W2=1.76772mm W3=0.24287mm)
  A15 = MS_TRL(W=0.24287mm P=9.55345mm)
  A16 = MS_TRL(W=1.76772mm P=5mm)
  A17 = MS_TRL(W=1.76772mm P=5mm)
  port Port1 pnum=1 rz=50ohm iz=0ohm noisetemp=16.85 noisetemporig=16.85cel
  port Port2 pnum=2 rz=50ohm iz=0ohm noisetemp=16.85 noisetemporig=16.85cel
  port Port3 pnum=3 rz=50ohm iz=0ohm noisetemp=16.85 noisetemporig=16.85cel
  port Port4 pnum=4 rz=50ohm iz=0ohm noisetemp=16.85 noisetemporig=16.85cel
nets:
  net_1: A2.1, A6.0
  net_10: A5.2, A8.1
  net_11: A5.1, A9.0
  net_12: A12.0, A7.0
  net_13: A12.1, A13.1
  net_14: A14.0, A9.1
  net_15: A15.0, A13.2
  net_16: A14.2, A15.1
  net_17: A14.1, A16.0
  net_18: A17.0, A13.0
  net_2: A3.1, A1.1
  net_3: A6.2, A10.1
  net_4: A3.2, A10.0
  net_5: A6.1, A11.0
  net_6: A4.0, A3.0
  net_7: A5.0, A11.1
  net_8: A4.1, A7.1
  net_9: A7.2, A8.0
  Port1: A2.0
  Port2: A16.1
  Port3: A17.1
  Port4: A1.0
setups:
  LinearFrequency: LinearFrequencyData(false, 0.1, false, "", false) SweepDefinition{Variable=F Data="LIN 3GHz 7GHz 0.005GHz"}
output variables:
  phase_diff = abs((mod(abs(cang_rad(S(2,1))-cang_rad(S(3,1))),pi)-(pi/2))*180/pi)
  PortGainDiff = abs(dB(S(Port2,Port1))-dB(S(Port3,Port1)))
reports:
  S-Parameters: dB(S(Port1,Port1)), dB(S(Port2,Port1)), dB(S(Port3,Port1)), dB(S(Port4,Port1)) vs F on LinearFrequency : LinearFrequency; markers MX1 at x=5.0045215e+09, MY1 at y=-14
  Port Gain Difference: PortGainDiff vs F on LinearFrequency : LinearFrequency; markers m1 at 5GHz
  Phase Error: phase_diff vs F on LinearFrequency : LinearFrequency; markers m1 at 5GHz, MY1 at y=2

design Crossover (Circuit)
options: SParamCircuitDef IntegrationMethod=FFT
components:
  A52 = MS_TRL(W=1.76772mm P=5mm)
  A53 = MS_TEEC(W1=1.76772mm W2=1.76772mm W3=1.76772mm)
  A1 = MS_TRL(W=1.76772mm P=8.95112mm)
  A2 = MS_TEEC(W1=1.76772mm W2=1.76772mm W3=1.76772mm)
  A3 = MS_TRL(W=1.76772mm P=5mm)
  A6 = MS_TRL(W=1.76772mm P=8.95112mm)
  A7 = MS_TEEC(W1=1.76772mm W2=1.76772mm W3=1.76772mm)
  A8 = MS_TRL(W=1.76772mm P=8.95112mm)
  A9 = MS_TEEC(W1=1.76772mm W2=1.76772mm W3=1.76772mm)
  A10 = MS_TRL(W=1.76772mm P=8.95112mm)
  A5 = MS_TRL(W=1.76772mm P=5mm)
  A4 = MS_TRL(W=1.76772mm P=5mm)
  A11 = MS_TRL(W=1.76772mm P=8.95112mm)
  A12 = MS_TEEC(W1=1.76772mm W2=1.76772mm W3=1.76772mm)
  A13 = MS_TRL(W=1.76772mm P=8.95112mm)
  A14 = MS_TEEC(W1=1.76772mm W2=1.76772mm W3=1.76772mm)
  A15 = MS_TRL(W=1.76772mm P=8.95112mm)
  port Port1 pnum=1 rz=50ohm iz=0ohm noisetemp=16.85 noisetemporig=16.85cel
  port Port2 pnum=2 rz=50ohm iz=0ohm noisetemp=16.85 noisetemporig=16.85cel
  port Port3 pnum=3 rz=50ohm iz=0ohm noisetemp=16.85 noisetemporig=16.85cel
  port Port4 pnum=4 rz=50ohm iz=0ohm noisetemp=16.85 noisetemporig=16.85cel
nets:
  net_20: A52.1, A53.0
  net_21: A53.2, A1.1
  net_22: A1.0, A2.2
  net_23: A2.1, A3.1
  net_27: A6.0, A2.0
  net_29: A6.1, A7.1
  net_30: A7.2, A8.0
  net_32: A9.2, A8.1
  net_33: A53.1, A10.0
  net_34: A9.0, A10.1
  net_35: A7.0, A11.0
  net_36: A5.0, A12.0
  net_37: A11.1, A12.1
  net_38: A12.2, A13.0
  net_39: A4.0, A14.1
  net_40: A13.1, A14.2
  net_41: A9.1, A15.0
  net_42: A15.1, A14.0
  Port1: A52.0
  Port2: A4.1
  Port3: A5.1
  Port4: A3.0
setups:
  LinearFrequency: LinearFrequencyData(false, 0.1, false, "", false) SweepDefinition{Variable=F Data="LIN 3GHz 7GHz 0.005GHz"}
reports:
  S-Parameters: dB(S(Port1,Port1)), dB(S(Port2,Port1)), dB(S(Port3,Port1)), dB(S(Port4,Port1)) vs F on LinearFrequency : LinearFrequency; markers MX1 at x=5.2274742e+09, MY1 at y=-20
  S Parameter Plot 1: ang_deg(S(Port3,Port1)) vs F on LinearFrequency : LinearFrequency; markers MX1 at x=4.998513e+09

design Butler_Matrix (Circuit)
options: SParamCircuitDef IntegrationMethod=FFT
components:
  U1 = Hybrid_WB1()
  U2 = Hybrid_WB1()
  U3 = Hybrid_WB1()
  U417 = Crossover1()
  U4 = Crossover1()
  U5 = Hybrid_WB1()
  A424 = MS_TRL(W=1.76772mm P=7.2mm)
  A425 = MS_BENDC(W2=1.76772mm W1=1.76772mm)
  A1 = MS_BENDC(W2=1.76772mm W1=1.76772mm)
  A2 = MS_BENDC(W2=1.76772mm W1=1.76772mm)
  A3 = MS_BENDC(W2=1.76772mm W1=1.76772mm)
  A4 = MS_BENDC(W2=1.76772mm W1=1.76772mm)
  A5 = MS_BENDC(W2=1.76772mm W1=1.76772mm)
  A6 = MS_BENDC(W2=1.76772mm W1=1.76772mm)
  A7 = MS_BENDC(W2=1.76772mm W1=1.76772mm)
  A8 = MS_BENDC(W2=1.76772mm W1=1.76772mm)
  A9 = MS_BENDC(W2=1.76772mm W1=1.76772mm)
  A10 = MS_BENDC(W2=1.76772mm W1=1.76772mm)
  A11 = MS_BENDC(W2=1.76772mm W1=1.76772mm)
  A12 = MS_BENDC(W2=1.76772mm W1=1.76772mm)
  A13 = MS_TRL(W=1.76772mm P=8.95112mm)
  A14 = MS_BENDC(W2=1.76772mm W1=1.76772mm)
  A15 = MS_TRL(W=1.76772mm P=7.2mm)
  A16 = MS_TRL(W=1.76772mm P=7.2mm)
  A17 = MS_BENDC(W2=1.76772mm W1=1.76772mm)
  A18 = MS_TRL(W=1.76772mm P=7.2mm)
  A19 = MS_TRL(W=1.76772mm P=8.95112mm)
  A20 = MS_BENDC(W2=1.76772mm W1=1.76772mm)
  A21 = MS_TRL(W=1.76772mm P=8.95112mm)
  A22 = MS_TRL(W=1.76772mm P=8.95112mm)
  A23 = MS_TRL(W=1.76772mm P=21.43668mm)
  A24 = MS_TRL(W=1.76772mm P=21.43668mm)
  port Port1 pnum=1 rz=50ohm iz=0ohm noisetemp=16.85 noisetemporig=16.85cel
  port Port2 pnum=2 rz=50ohm iz=0ohm noisetemp=16.85 noisetemporig=16.85cel
  port Port3 pnum=3 rz=50ohm iz=0ohm noisetemp=16.85 noisetemporig=16.85cel
  port Port4 pnum=4 rz=50ohm iz=0ohm noisetemp=16.85 noisetemporig=16.85cel
  port Port5 pnum=5 rz=50ohm iz=0ohm noisetemp=16.85 noisetemporig=16.85cel
  port Port6 pnum=6 rz=50ohm iz=0ohm noisetemp=16.85 noisetemporig=16.85cel
  port Port7 pnum=7 rz=50ohm iz=0ohm noisetemp=16.85 noisetemporig=16.85cel
  port Port8 pnum=8 rz=50ohm iz=0ohm noisetemp=16.85 noisetemporig=16.85cel
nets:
  net_18: A425.1, U417.3
  net_19: A1.0, U2.2
  net_20: A1.1, U4.3
  net_21: A2.0, U417.0
  net_22: A3.0, U4.0
  net_23: A4.0, U417.2
  net_24: A5.0, U4.2
  net_25: A5.1, U3.1
  net_26: A6.1, U417.1
  net_27: A7.1, U4.1
  net_28: A8.1, U5.1
  net_29: A425.0, U5.2
  net_30: A4.1, U1.1
  net_31: A2.1, U2.Port2
  net_32: A6.0, U3.0
  net_33: A9.0, U1.2
  net_34: A10.0, U2.0
  net_35: A11.1, U3.Port2
  net_36: A8.0, A424.0
  net_37: A12.0, A424.1
  net_38: A12.1, A13.1
  net_39: A13.0, A14.0
  net_40: A15.0, A10.1
  net_41: A15.1, A14.1
  net_42: A9.1, A16.1
  net_43: A16.0, A17.1
  net_44: A11.0, A18.1
  net_45: A19.1, A17.0
  net_46: A20.0, A18.0
  net_47: A19.0, A20.1
  net_48: A21.1, A3.1
  net_49: A22.1, A7.0
  net_50: A23.1, U2.1
  net_51: A24.1, U3.2
  Port1: U5.0
  Port2: U5.Port2
  Port3: U1.0
  Port4: U1.Port2
  Port5: A23.0
  Port6: A21.0
  Port7: A22.0
  Port8: A24.0
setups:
  LinearFrequency: LinearFrequencyData(false, 0.1, false, "", false) SweepDefinition{Variable=F Data="LIN 3GHz 7GHz 0.005GHz"}
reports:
  S-Parameters: dB(S(Port1,Port1)), dB(S(Port2,Port1)), dB(S(Port3,Port1)), dB(S(Port4,Port1)) vs F on LinearFrequency : LinearFrequency; markers MX1 at x=5e+09, MY1 at y=-14
  Insertion Loss: dB(S(Port5,Port1)), dB(S(Port6,Port1)), dB(S(Port7,Port1)), dB(S(Port8,Port1)) vs F on LinearFrequency : LinearFrequency

design Hybrid_WB1 (Circuit)
options: SParamCircuitDef IntegrationMethod=FFT
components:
  A2 = MS_TRL(W=1.76772mm P=5mm)
  A1 = MS_TRL(W=1.76772mm P=5mm)
  A6 = MS_TEEC(W2=2.98223mm W1=1.76772mm W3=0.24287mm)
  A3 = MS_TEEC(W1=2.98223mm W2=1.76772mm W3=0.24287mm)
  A10 = MS_TRL(W=0.24287mm P=9.55345mm)
  A11 = MS_TRL(W=2.98223mm P=8.73787mm)
  A4 = MS_TRL(W=2.98223mm P=8.73787mm)
  A5 = MS_TEEC(W1=2.98223mm W2=2.98223mm W3=2.98223mm)
  A7 = MS_TEEC(W1=2.98223mm W2=2.98223mm W3=2.98223mm)
  A8 = MS_TRL(W=2.98223mm P=9.55345mm)
  A9 = MS_TRL(W=2.98223mm P=8.73787mm)
  A12 = MS_TRL(W=2.98223mm P=8.73787mm)
  A13 = MS_TEEC(W2=2.98223mm W1=1.76772mm W3=0.24287mm)
  A14 = MS_TEEC(W1=2.98223mm W2=1.76772mm W3=0.24287mm)
  A15 = MS_TRL(W=0.24287mm P=9.55345mm)
  A16 = MS_TRL(W=1.76772mm P=5mm)
  A17 = MS_TRL(W=1.76772mm P=5mm)
  port Port1 pnum=1 rz=50ohm iz=0ohm noisetemp=16.85 noisetemporig=16.85cel
  port Port2 pnum=2 rz=50ohm iz=0ohm noisetemp=16.85 noisetemporig=16.85cel
  port Port3 pnum=3 rz=50ohm iz=0ohm noisetemp=16.85 noisetemporig=16.85cel
  port Port4 pnum=4 rz=50ohm iz=0ohm noisetemp=16.85 noisetemporig=16.85cel
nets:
  net_1: A6.0, A2.1
  net_10: A8.1, A5.2
  net_11: A9.0, A5.1
  net_12: A12.0, A7.0
  net_13: A12.1, A13.1
  net_14: A9.1, A14.0
  net_15: A13.2, A15.0
  net_16: A15.1, A14.2
  net_17: A16.0, A14.1
  net_18: A17.0, A13.0
  net_2: A1.1, A3.1
  net_3: A6.2, A10.1
  net_4: A3.2, A10.0
  net_5: A6.1, A11.0
  net_6: A3.0, A4.0
  net_7: A5.0, A11.1
  net_8: A7.1, A4.1
  net_9: A8.0, A7.2
  Port1: A2.0
  Port2: A16.1
  Port3: A17.1
  Port4: A1.0
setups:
  LinearFrequency: LinearFrequencyData(false, 0.1, false, "", false) SweepDefinition{Variable=F Data="LIN 3GHz 7GHz 0.005GHz"}
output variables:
  phase_diff = abs((mod(abs(cang_rad(S(2,1))-cang_rad(S(3,1))),pi)-(pi/2))*180/pi)
  PortGainDiff = abs(dB(S(Port2,Port1))-dB(S(Port3,Port1)))

design Crossover1 (Circuit)
options: SParamCircuitDef IntegrationMethod=FFT
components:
  A52 = MS_TRL(W=1.76772mm P=5mm)
  A53 = MS_TEEC(W1=1.76772mm W2=1.76772mm W3=1.76772mm)
  A1 = MS_TRL(W=1.76772mm P=8.95112mm)
  A2 = MS_TEEC(W1=1.76772mm W2=1.76772mm W3=1.76772mm)
  A3 = MS_TRL(W=1.76772mm P=5mm)
  A6 = MS_TRL(W=1.76772mm P=8.95112mm)
  A7 = MS_TEEC(W1=1.76772mm W2=1.76772mm W3=1.76772mm)
  A8 = MS_TRL(W=1.76772mm P=8.95112mm)
  A9 = MS_TEEC(W1=1.76772mm W2=1.76772mm W3=1.76772mm)
  A10 = MS_TRL(W=1.76772mm P=8.95112mm)
  A5 = MS_TRL(W=1.76772mm P=5mm)
  A4 = MS_TRL(W=1.76772mm P=5mm)
  A11 = MS_TRL(W=1.76772mm P=8.95112mm)
  A12 = MS_TEEC(W1=1.76772mm W2=1.76772mm W3=1.76772mm)
  A13 = MS_TRL(W=1.76772mm P=8.95112mm)
  A14 = MS_TEEC(W1=1.76772mm W2=1.76772mm W3=1.76772mm)
  A15 = MS_TRL(W=1.76772mm P=8.95112mm)
  port Port1 pnum=1 rz=50ohm iz=0ohm noisetemp=16.85 noisetemporig=16.85cel
  port Port2 pnum=2 rz=50ohm iz=0ohm noisetemp=16.85 noisetemporig=16.85cel
  port Port3 pnum=3 rz=50ohm iz=0ohm noisetemp=16.85 noisetemporig=16.85cel
  port Port4 pnum=4 rz=50ohm iz=0ohm noisetemp=16.85 noisetemporig=16.85cel
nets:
  net_20: A52.1, A53.0
  net_21: A1.1, A53.2
  net_22: A1.0, A2.2
  net_23: A3.1, A2.1
  net_27: A6.0, A2.0
  net_29: A7.1, A6.1
  net_30: A7.2, A8.0
  net_32: A9.2, A8.1
  net_33: A10.0, A53.1
  net_34: A9.0, A10.1
  net_35: A7.0, A11.0
  net_36: A12.0, A5.0
  net_37: A12.1, A11.1
  net_38: A13.0, A12.2
  net_39: A14.1, A4.0
  net_40: A13.1, A14.2
  net_41: A15.0, A9.1
  net_42: A14.0, A15.1
  Port1: A52.0
  Port2: A4.1
  Port3: A5.1
  Port4: A3.0
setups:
  LinearFrequency: LinearFrequencyData(false, 0.1, false, "", false) SweepDefinition{Variable=F Data="LIN 3GHz 7GHz 0.005GHz"}
